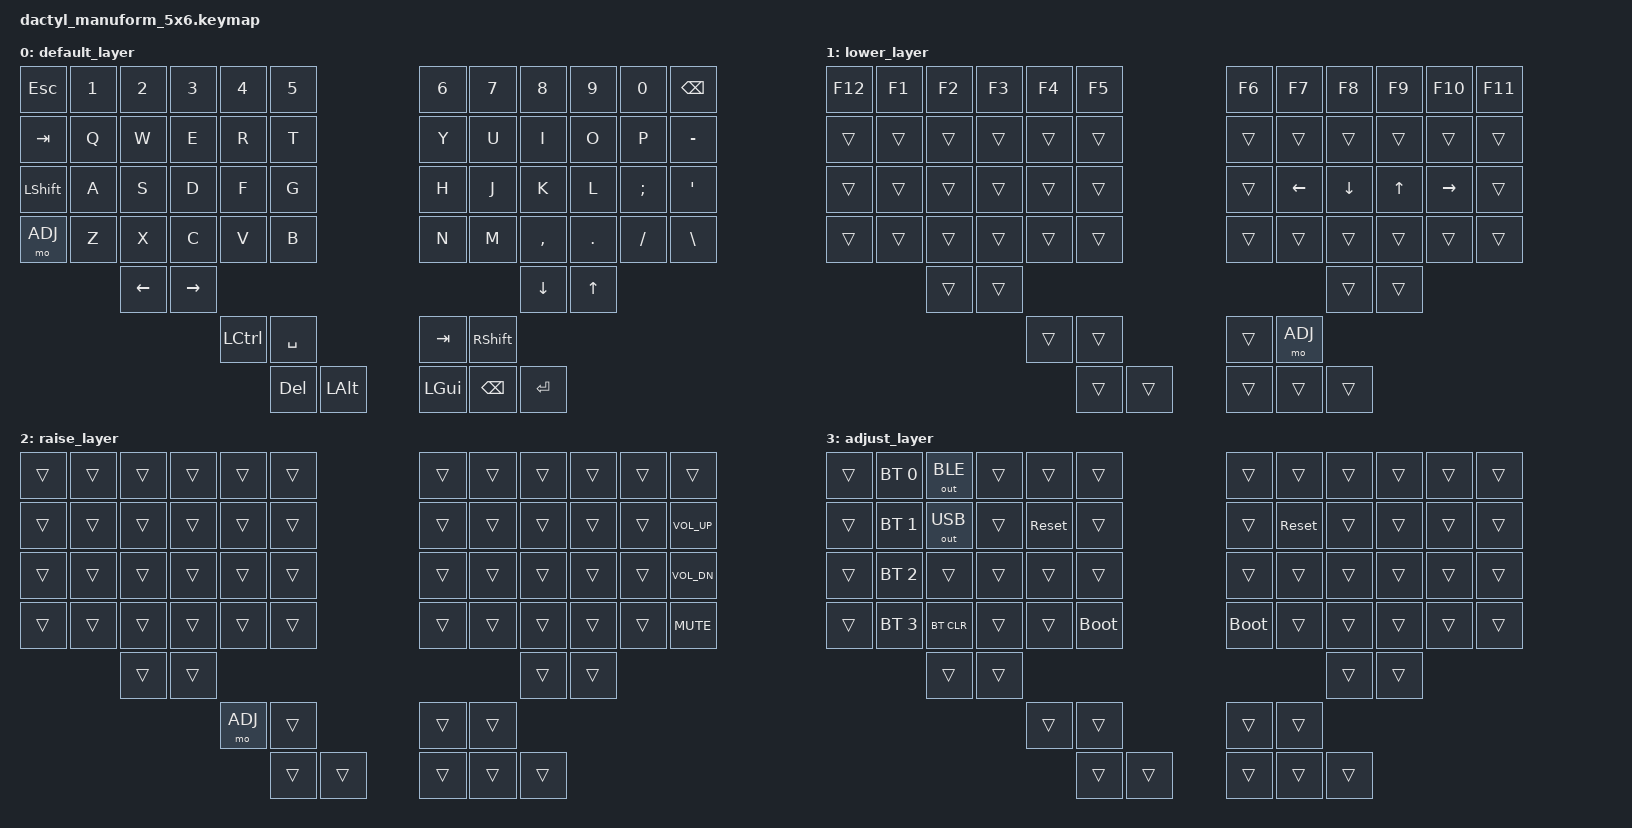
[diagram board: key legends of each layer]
#include <behaviors.dtsi>
#include <dt-bindings/zmk/keys.h>
#include <dt-bindings/zmk/bt.h>
#include <dt-bindings/zmk/outputs.h>

#define DEFAULT 0
#define LWR 1
#define RSE 2
#define ADJ 3

/ {
    keymap {
        compatible = "zmk,keymap";

        default_layer {
            bindings = <
                &kp ESC   &kp N1 &kp N2   &kp N3    &kp N4    &kp N5                                                    &kp N6   &kp N7     &kp N8    &kp N9  &kp N0   &kp BSPC
                &kp TAB   &kp Q  &kp W    &kp E     &kp R     &kp T                                                     &kp Y    &kp U      &kp I     &kp O   &kp P    &kp MINUS
                &kp LSHFT &kp A  &kp S    &kp D     &kp F     &kp G                                                     &kp H    &kp J      &kp K     &kp L   &kp SEMI &kp SQT
                &mo ADJ   &kp Z  &kp X    &kp C     &kp V     &kp B                                                     &kp N    &kp M      &kp COMMA &kp DOT &kp FSLH &kp BSLH
                                 &kp LEFT &kp RIGHT                                                                                         &kp DOWN  &kp UP
                                                    &kp LCTRL &kp SPACE &kp TAB                                                  &kp RSHIFT
                                                              &kp DEL   &kp LALT                               &kp LGUI &kp BSPC &kp RET
            >;
        };

        lower_layer {
            bindings = <
                &kp F12 &kp F1 &kp F2 &kp F3 &kp F4 &kp F5                                             &kp F6 &kp F7   &kp F8   &kp F9 &kp F10   &kp F11
                &trans  &trans &trans &trans &trans &trans                                             &trans &trans   &trans   &trans &trans    &trans
                &trans  &trans &trans &trans &trans &trans                                             &trans &kp LEFT &kp DOWN &kp UP &kp RIGHT &trans
                &trans  &trans &trans &trans &trans &trans                                             &trans &trans   &trans   &trans &trans    &trans
                               &trans &trans                                                                           &trans   &trans
                                             &trans &trans &trans                                             &mo ADJ
                                                    &trans &trans                               &trans &trans &trans
            >;
        };

        raise_layer {
            bindings = <
                &trans &trans &trans &trans &trans  &trans                                             &trans &trans &trans &trans &trans &trans
                &trans &trans &trans &trans &trans  &trans                                             &trans &trans &trans &trans &trans &kp K_VOL_UP
                &trans &trans &trans &trans &trans  &trans                                             &trans &trans &trans &trans &trans &kp K_VOL_DN
                &trans &trans &trans &trans &trans  &trans                                             &trans &trans &trans &trans &trans &kp K_MUTE
                              &trans &trans                                                                          &trans &trans
                                            &mo ADJ &trans &trans                                             &trans
                                                    &trans &trans                               &trans &trans &trans
            >;
        };

        adjust_layer {
            bindings = <
                &trans &bt BT_SEL 0 &out OUT_BLE &trans &trans     &trans                         &trans      &trans     &trans &trans &trans &trans
                &trans &bt BT_SEL 1 &out OUT_USB &trans &sys_reset &trans                         &trans      &sys_reset &trans &trans &trans &trans
                &trans &bt BT_SEL 2 &trans       &trans &trans     &trans                         &trans      &trans     &trans &trans &trans &trans
                &trans &bt BT_SEL 3 &bt BT_CLR   &trans &trans     &bootloader                    &bootloader &trans     &trans &trans &trans &trans
                                    &trans       &trans                                                                  &trans &trans
                                                        &trans     &trans &trans                              &trans
                                                                   &trans &trans                &trans &trans &trans
            >;
        };
    };
};
